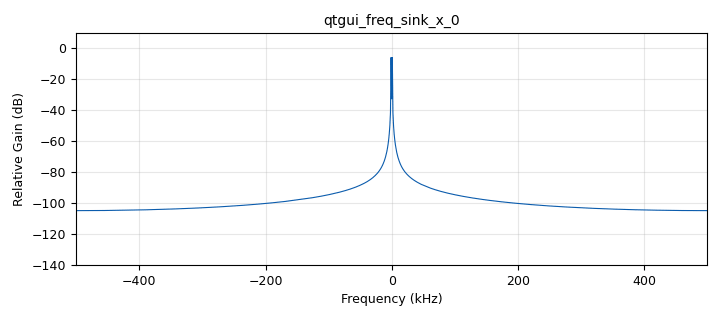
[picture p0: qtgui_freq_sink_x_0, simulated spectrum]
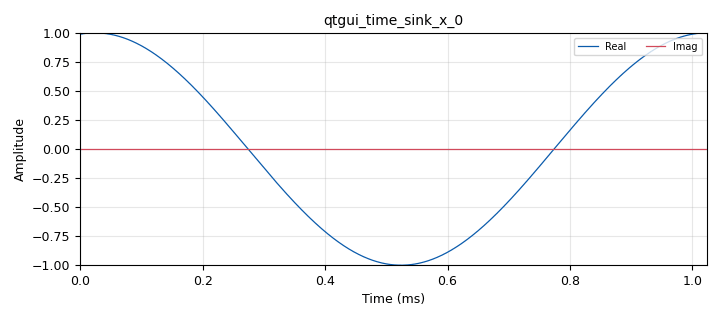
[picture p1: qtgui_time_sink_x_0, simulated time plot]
options:
  parameters:
    author: Oscar Reyes / Efrén Acevedo
    generate_options: qt_gui
    id: simple_flowgraph
    output_language: python
    title: Simple flowgraph to test GNU Radio
  states: {}

blocks:
- name: GTX
  id: variable_qtgui_range
  parameters:
    comment: Ganancia del transmisor
    gui_hint: tab_usrp@0:2,0
    label: Tx gain in dB
    start: '0'
    step: '1'
    stop: '30'
    value: '30'
  states: {}
- name: amplitude
  id: variable_qtgui_range
  parameters:
    comment: |-
      Bloque ajuste de variables 
      mientras se ejecuta el flujograma
    gui_hint: tab_source@0:1,0
    label: Amplitude
    start: '0'
    step: '0.1'
    stop: '5'
    value: '1'
  states: {}
- name: fc
  id: variable_qtgui_range
  parameters:
    comment: Frecuencia de portadora
    gui_hint: tab_usrp@0:1,0
    label: Carrier Frequency in MHz
    start: '50'
    step: '0.1'
    stop: '2200'
    value: '100'
  states: {}
- name: frequency
  id: variable_qtgui_range
  parameters:
    gui_hint: tab_source@0:2,0
    label: Frequency in Hz
    start: '0'
    step: '100'
    stop: 1e4
    value: 1e3
  states: {}
- name: noise
  id: variable_qtgui_range
  parameters:
    comment: Amplitud del ruido
    gui_hint: tab_channel@0:1,0
    label: Noise voltage
    start: '0'
    step: '0.01'
    stop: '5'
    value: '0'
  states: {}
- name: offset
  id: variable_qtgui_range
  parameters:
    gui_hint: tab_source@0:1,1
    label: Offset
    start: '-5'
    step: '0.1'
    stop: '5'
    value: '0'
  states: {}
- name: phase
  id: variable_qtgui_range
  parameters:
    gui_hint: tab_source@0:2,1
    label: Phase Rad
    start: '0'
    step: '0.1'
    stop: 2*np.pi
    value: '0'
  states: {}
- name: samp_rate
  id: variable
  parameters:
    comment: |-
      Bloque usado para configurar 
      valores de variables que no se
      van a actualizar durante la ejecución
    value: 1e6
  states: {}
- name: source_type
  id: variable_qtgui_chooser
  parameters:
    comment: |-
      Bloque usado para cambiar 
      el tipo de dato de la fuente
      (complejo o flotante)
    gui_hint: tab_source@0:0,0
    label: Source Type
    labels: '["Complex", "Float"]'
    num_opts: '0'
    options: '[0, 1]'
    type: raw
    value: '1'
  states: {}
- name: waveform
  id: variable_qtgui_chooser
  parameters:
    comment: |-
      Bloque usado para cambiar 
      los tipos de formas de onda
    gui_hint: tab_source@0:0,1
    label: Waveform
    labels: '["Constant", "Sine", "Cosine", "Square", "Triangle", "Saw Tooth"]'
    num_opts: '0'
    options: '[100, 101, 102, 103, 104, 105]'
    type: raw
    value: '102'
  states: {}
- name: analog_sig_source_x_0
  id: analog_sig_source_x
  parameters:
    amp: amplitude
    comment: |-
      Fuente virtual COMPLEJA, 
      genera diferentes formas de onda
    freq: frequency
    offset: offset
    phase: phase
    samp_rate: samp_rate
    type: complex
    waveform: waveform
  states: {}
- name: analog_sig_source_x_0_0
  id: analog_sig_source_x
  parameters:
    amp: amplitude
    comment: |-
      Fuente virtual REAL, 
      genera diferentes formas de onda
    freq: frequency
    offset: offset
    phase: phase
    samp_rate: samp_rate
    type: float
    waveform: waveform
  states: {}
- name: blocks_float_to_complex_0
  id: blocks_float_to_complex
  parameters: {}
  states: {}
- name: blocks_selector_0
  id: blocks_selector
  parameters:
    enabled: 'True'
    input_index: source_type
    num_inputs: '2'
    num_outputs: '1'
    output_index: '0'
    type: complex
  states: {}
- name: blocks_throttle2_0
  id: blocks_throttle2
  parameters:
    comment: |-
      Bloque que permite regular
      el flujo de datos de las fuentes
    samples_per_second: samp_rate
    type: complex
  states: {state: disabled}
- name: channels_channel_model_0
  id: channels_channel_model
  parameters:
    comment: |-
      Bloque usado para 
      crear un modelo de 
      canal
    epsilon: '1.0'
    freq_offset: '0'
    noise_voltage: noise
    seed: '0'
    taps: '1.0'
  states: {state: disabled}
- name: import_1
  id: import
  parameters:
    comment: |-
      Usado para importar modulos 
      de python adicionales
    imports: import numpy as np
  states: {}
- name: qtgui_freq_sink_x_0
  id: qtgui_freq_sink_x
  parameters:
    bw: samp_rate
    fc: '0'
    fftsize: '1024'
    grid: 'True'
    gui_hint: 3,2,6,2
    type: complex
    wintype: window.WIN_RECTANGULAR
  states: {}
- name: qtgui_time_sink_x_0
  id: qtgui_time_sink_x
  parameters:
    grid: 'True'
    gui_hint: 3,0,6,2
    label1: Real
    label2: Imag
    size: '1024'
    srate: samp_rate
    type: complex
  states: {}
- name: tab_channel
  id: qtgui_tab_widget
  parameters:
    gui_hint: 0,2,3,1
    label0: Channel Controls
    num_tabs: '1'
  states: {}
- name: tab_source
  id: qtgui_tab_widget
  parameters:
    gui_hint: 0,0,3,2
    label0: Source Controls
    num_tabs: '1'
  states: {}
- name: tab_usrp
  id: qtgui_tab_widget
  parameters:
    gui_hint: 0,3,3,1
    label0: USRP Controls
    num_tabs: '1'
  states: {}
- name: uhd_usrp_sink_0_0
  id: uhd_usrp_sink
  parameters:
    ant0: '"TX/RX"'
    center_freq0: fc*1e6
    comment: |-
      Bloque usado para conectar 
      el PC con el USRP
    gain0: GTX
    samp_rate: samp_rate
    sync: pc_clock
    type: fc32
  states: {}
- name: virtual_sink_0
  id: virtual_sink
  parameters:
    comment: Source + Channel model
    stream_id: source
  states: {state: disabled}
- name: virtual_sink_0_0
  id: virtual_sink
  parameters:
    comment: Source without channel model
    stream_id: source
  states: {}
- name: virtual_source_0
  id: virtual_source
  parameters:
    stream_id: source
  states: {}

connections:
- [analog_sig_source_x_0, '0', blocks_selector_0, '0']
- [analog_sig_source_x_0_0, '0', blocks_float_to_complex_0, '0']
- [blocks_float_to_complex_0, '0', blocks_selector_0, '1']
- [blocks_selector_0, '0', channels_channel_model_0, '0']
- [blocks_selector_0, '0', uhd_usrp_sink_0_0, '0']
- [blocks_selector_0, '0', virtual_sink_0_0, '0']
- [blocks_throttle2_0, '0', virtual_sink_0, '0']
- [channels_channel_model_0, '0', blocks_throttle2_0, '0']
- [virtual_source_0, '0', qtgui_freq_sink_x_0, '0']
- [virtual_source_0, '0', qtgui_time_sink_x_0, '0']

metadata:
  file_format: 1
  grc_version: v3.10.11.0-89-ga17f69e7
